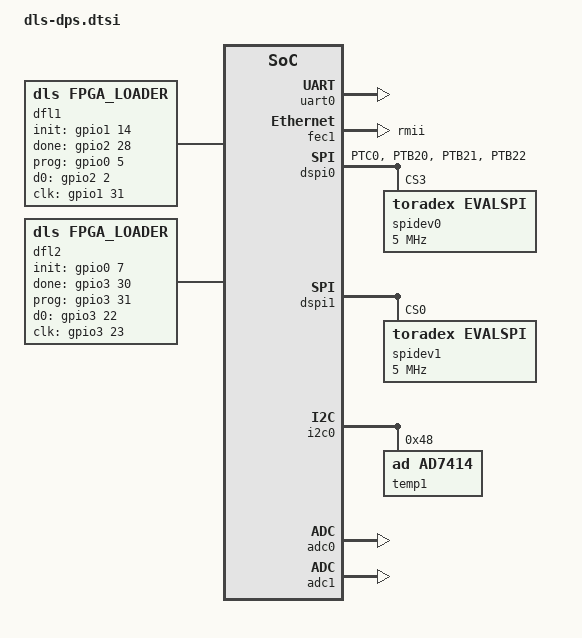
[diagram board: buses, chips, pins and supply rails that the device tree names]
/* Device tree definitions specific to the Diamond Digital Power Supply carrier
 * board.  This file builds on the vf500-colibri.dtsi definitions for the
 * Toradex Colibri VF50 module. */

/ {
    chosen {
        stdout-path = "serial0:115200n8";
    };

    aliases {
        ethernet0 = &fec1;
        dfl1 = &dfl1;
        dfl2 = &dfl2;
    };
};

/* Serial console. */
&uart0 {
    status = "okay";
};

/* Ethernet interface */
&fec1 {
    phy-mode = "rmii";
    pinctrl-names = "default";
    pinctrl-0 = <&pinctrl_fec1>;
    status = "okay";
};

/* Colibri SPI to ADC FPGA */
&dspi0 {
    bus-num = <0>;
    pinctrl-names = "default";
    pinctrl-0 = <&pinctrl_dspi0>;
    status = "okay";

    spidev0: spidev@3 {
        compatible = "toradex,evalspi";
        reg = <3>;
        spi-max-frequency = <5000000>;      /* 5 MHz */
        status = "okay";
    };
};

/* Colibri SPI to digital control FPGA */
&dspi1 {
    status = "okay";

    spidev1: spidev@0 {
        compatible = "toradex,evalspi";
        reg = <0>;
        spi-max-frequency = <5000000>;      /* 5 MHz */
        status = "okay";
    };
};

/* I2C bus to temperature sensor. */
&i2c0 {
    status = "okay";

    temp1: ad7414@48 {
        compatible = "ad,ad7414";
        reg = <0x48>;
    };
};

&adc0 {
    status = "okay";
};

&adc1 {
    status = "okay";
};

/* GPIO IO Mux bit assignments.  The table below describing the pin control
 * codes is taken from the development guide, and is itself taken from the VFxxx
 * Controller Reference manual.
 *
 * Bits    Mask    Mask    Function
 * 0       0x0001  IBE     Set to 1 to enable input buffer
 * 1       0x0002  OBE     Set to 1 to enable output buffer
 * 2       0x0004  PUE     Set to 1 for output pull-up/down, 0 for keeper if
 *                         enabled in PKE
 * 3       0x0008  PKE     Set to 1 to enable pull-up/down or keeper
 * 5:4     0x0030  PUS     Pull up or down and strength if enabled in PKE.  0 =>
 *                         100 kOhm pull-down, 1 => 47 kOhm pull-up,
 *                         2 => 100 kOhm pull-up, 3 => 22 kOhm pull-up.
 * 8:6     0x01C0  DSE     Drive strength field.  0 => output disabled,
 *                         1 => 150 Ohm, 2 => 75 Ohm, 3 => 50 Ohm, 4 => 37 Ohm,
 *                         5 => 30 Ohm, 6 => 25 Ohm, 7 => 20 Ohm.
 * 9       0x0200  HYS     Set to 1 for Schmitt trigger input, 0 for CMOS
 * 10      0x0400  ODE     Set to 1 for open drain output
 * 11      0x0800  SRE     Set to 1 for fast slew rate
 * 13:12   0x3000  SPEED   Speed selection.  0 => 50 MHz, 1, 2 => 100 MHz,
 *                         3 => 200 MHz.
 *
 * We program the FPGA output pins to avoid interfering as far as possible with
 * the FPGA's shared use of the CCLK and DSO pins (used for access to the Flash
 * configuration), and to try and avoid triggering a reset of the FPGA.  This is
 * done by leaving the outputs disabled until needed, and leaving the PROGB and
 * CCLK pins pulled up and down respectively. */
&iomuxc {
    vf610-colibri {
        /* We configure the general purpose GPIOs here.  We overwrite the
         * original pinctrl_hog_0 group to free up GPIOs we need elsewhere. */
        pinctrl_hog_0: hoggrp-0 {
            fsl,pins = <
                /* XL TRIG input. */
                VF610_PAD_PTB17__GPIO_39    0x0201
                /* Input switch. */
                VF610_PAD_PTD26__GPIO_68    0x0001      // SW1-8
                VF610_PAD_PTD4__GPIO_83     0x0001      // SW1-4
                VF610_PAD_PTE3__GPIO_108    0x0001      // SW1-2
                VF610_PAD_PTD9__GPIO_88     0x0001      // SW1-1
                /* SPARE 1 to SPARE 9.  Currently input and output disabled. */
                VF610_PAD_PTD10__GPIO_89    0x0000      // SPARE 1
                VF610_PAD_PTC29__GPIO_102   0x0000      // SPARE 2
                VF610_PAD_PTA9__GPIO_2      0x0000      // SPARE 3
                VF610_PAD_PTB28__GPIO_98    0x0000      // SPARE 4
                VF610_PAD_PTC30__GPIO_103   0x0000      // SPARE 5
                VF610_PAD_PTD29__GPIO_65    0x0000      // SPARE 6
                VF610_PAD_PTE5__GPIO_110    0x0000      // SPARE 7
                VF610_PAD_PTE6__GPIO_111    0x0000      // SPARE 8
                VF610_PAD_PTD25__GPIO_69    0x0000      // SPARE 9
                /* Extra ADC input on ADC0 channel 2. */
                VF610_PAD_PTB0__ADC0_SE2    0x0001      // ADC input
                VF610_PAD_PTD11__GPIO_90    0x0201      // Alert input
            >;
        };

        pinctrl_dspi0: dspi0grp {
            fsl,pins = <
                VF610_PAD_PTC0__DSPI0_CS3       0x1182
                VF610_PAD_PTB20__DSPI0_SIN      0x1181
                VF610_PAD_PTB21__DSPI0_SOUT     0x1182
                VF610_PAD_PTB22__DSPI0_SCK      0x1182
            >;
        };

        pinctrl_dls_fpga1: fpga1grp {
            fsl,pins = <
                /* DPS ADC FPGA programming. */
                VF610_PAD_PTC1__GPIO_46     0x0001      // ADC INIT B
                VF610_PAD_PTD13__GPIO_92    0x0001      // ADC DONE
                VF610_PAD_PTA12__GPIO_5     0x00ed      // ADC PROG B
                VF610_PAD_PTD28__GPIO_66    0x00c1      // ADC DSO
                VF610_PAD_PTD31__GPIO_63    0x00cd      // ADC CLK
            >;
        };

        pinctrl_dls_fpga2: fpga2grp {
            fsl,pins = <
                /* Digital Interface FPGA programming. */
                VF610_PAD_PTA17__GPIO_7     0x0001      // INIT B
                VF610_PAD_PTE21__GPIO_126   0x0001      // DONE
                VF610_PAD_PTE22__GPIO_127   0x00ed      // PROG B
                VF610_PAD_PTE13__GPIO_118   0x00c1      // DSO
                VF610_PAD_PTE14__GPIO_119   0x00cd      // CLK
            >;
        };

        pinctrl_hog_1: hoggrp-1 {
            fsl,pins = <>;
        };
    };
};

/ {
    dfl1: dfl@1 {
        compatible = "dls,fpga_loader";
        pinctrl-names = "default";
        pinctrl-0 = <&pinctrl_dls_fpga1>;
        init-gpios = <&gpio1 14 GPIO_ACTIVE_HIGH>;
        done-gpios = <&gpio2 28 GPIO_ACTIVE_HIGH>;
        prog-gpios = <&gpio0 5 GPIO_ACTIVE_HIGH>;
        d0-gpios = <&gpio2 2 GPIO_ACTIVE_HIGH>;
        clk-gpios = <&gpio1 31 GPIO_ACTIVE_HIGH>;
        status = "okay";
    };

    dfl2: dfl@2 {
        compatible = "dls,fpga_loader";
        pinctrl-names = "default";
        pinctrl-0 = <&pinctrl_dls_fpga2>;
        init-gpios = <&gpio0 7 GPIO_ACTIVE_HIGH>;
        done-gpios = <&gpio3 30 GPIO_ACTIVE_HIGH>;
        prog-gpios = <&gpio3 31 GPIO_ACTIVE_HIGH>;
        d0-gpios = <&gpio3 22 GPIO_ACTIVE_HIGH>;
        clk-gpios = <&gpio3 23 GPIO_ACTIVE_HIGH>;
        status = "okay";
    };
};
